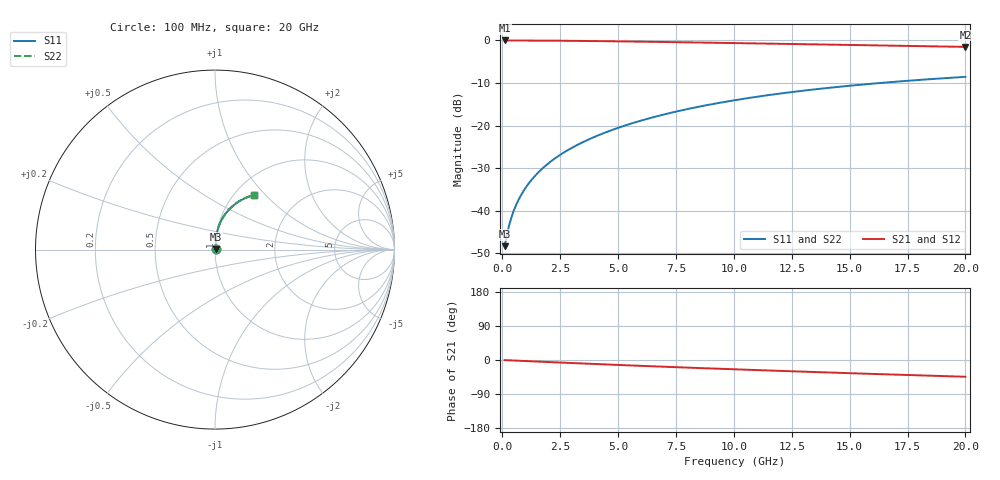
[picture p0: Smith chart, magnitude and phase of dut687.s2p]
! Touchstone file exported from HFSS 2024.1.0
!  File:  C:/UserFiles/LocalFiles/RDL_TSV_Batchsim/temp_RDL_bottom_687_1779786826.aedt
!  Generated:  05:16:30 PM May 26, 2026
!  Design:  RDL_bottom
!  Project:  temp_RDL_bottom_687_1779786826
!  Setup:  Setup1
!  Solution:  Sweep
! Variables:
!  dtsv = 10.80580581um
!  hbump = 3um
!  htsv = 56.26um
!  ldown = 654.34um
!  lrdl = 100um
!  p = 40
!  p1 = 47.85um
!  rhole = 1um
!  t = 450um
!  tdown = 3.3um
!  trdl = 3.915915916um
!  wdown = 23.01um
!  wrdl = 20um
# GHz S MA R 50.000000
! Terminal data exported
! Port[1] = RDL1_T1
! Port[2] = RDL1_T2
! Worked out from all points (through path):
!   200 points, 100 MHz to 20 GHz, reference 50 ohm
!   highest |S21| = -0.03 dB at 100 MHz (marker M1); lowest = -1.5 dB at 20 GHz (marker M2)
!   group delay of S21, straight-line fit = 6.09 ps
!   lowest |S11| = -48.3 dB at 100 MHz (marker M3), VSWR 1.01, Z = 50.3 + j0.203 ohm
!   |S11| at or under -10 dB: start of sweep to 16.34 GHz
!   |S22| runs from -48.3 to -8.6 dB; largest |S21 - S12| = 4.4e-15
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0.1  0.003839 31.7  0.9967 -0.3  0.9967 -0.3  0.003839 31.7
! Gamma 0 0 0 0
! Port Impedance 50 0 50 0
0.2  0.005234 49.1  0.9965 -0.6  0.9965 -0.6  0.005234 49.1
0.3  0.006825 58.0  0.9963 -0.8  0.9963 -0.8  0.006825 58.1
0.4  0.008451 63.5  0.9961 -1.1  0.9961 -1.1  0.008451 63.5
0.5  0.01009 67.3  0.9959 -1.4  0.9959 -1.4  0.01009 67.3
0.6  0.01174 70.1  0.9956 -1.7  0.9956 -1.7  0.01174 70.2
0.8  0.01508 74.1  0.9952 -2.2  0.9952 -2.2  0.01508 74.1
1.1  0.0202 77.8  0.9945 -3.0  0.9945 -3.0  0.0202 77.8
1.3  0.02368 79.4  0.994 -3.5  0.994 -3.5  0.02368 79.4
1.6  0.02897 81.1  0.9931 -4.3  0.9931 -4.3  0.02897 81.1
2.1  0.03796 82.7  0.9912 -5.6  0.9912 -5.6  0.03796 82.7
2.7  0.04902 83.7  0.9883 -7.2  0.9883 -7.2  0.04902 83.7
3.5  0.06421 84.1  0.9837 -9.3  0.9837 -9.3  0.06422 84.1
4.2  0.0779 83.9  0.979 -11.1  0.979 -11.1  0.07791 83.9
5  0.09394 83.3  0.973 -13.1  0.973 -13.1  0.09396 83.3
6.8  0.1311 80.9  0.9581 -17.4  0.9581 -17.4  0.1311 80.9
8.4  0.1645 78.0  0.9438 -21.0  0.9438 -21.0  0.1645 78.0
10.1  0.1996 74.6  0.9282 -24.7  0.9282 -24.7  0.1996 74.6
11.7  0.2316 71.2  0.9134 -28.1  0.9134 -28.1  0.2317 71.3
13.4  0.2641 67.7  0.8977 -31.6  0.8977 -31.6  0.2643 67.7
16.7  0.3221 60.9  0.8674 -38.1  0.8674 -38.1  0.3223 61.0
20  0.3727 54.5  0.8379 -44.2  0.8379 -44.2  0.3729 54.6
